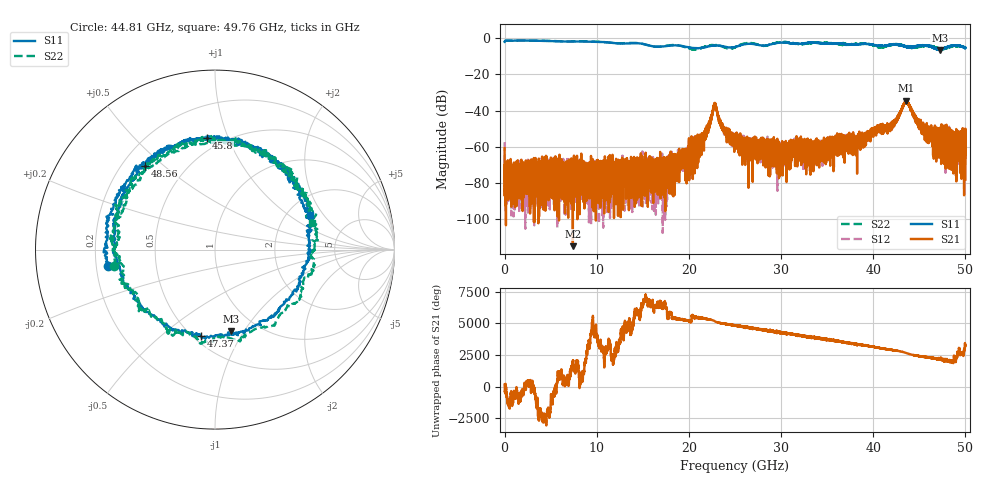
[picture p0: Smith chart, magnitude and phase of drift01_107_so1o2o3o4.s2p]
!Created with skrf (http://scikit-rf.org).
# Hz S RI R 50.0
!freq ReS11 ImS11 ReS21 ImS21 ReS12 ImS12 ReS22 ImS22
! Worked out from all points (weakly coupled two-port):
!   10001 points, 300 kHz to 50 GHz, reference 50 ohm
!   highest |S21| = -34.56 dB at 43.59 GHz (marker M1); lowest = -114.8 dB at 7.405 GHz (marker M2)
!   lowest |S11| = -6.7 dB at 47.21 GHz (marker M3), VSWR 2.74, Z = 37.9 - j44 ohm
!   |S11| at or under -10 dB: nowhere
!   |S22| runs from -6.4 to -1.4 dB; largest |S21 - S12| = 0.0035
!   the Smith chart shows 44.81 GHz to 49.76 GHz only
!   S11 on the Smith chart (normalised r, x): 44.81 GHz: 0.25, -0.07; 45.8 GHz: 0.41, +0.84; 47.37 GHz: 0.55, -0.69; 48.56 GHz: 0.29, +0.43; 49.76 GHz: 2.65, +1.48
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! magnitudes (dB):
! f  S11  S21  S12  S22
! 300 kHz  -2.1  -60.7  -57.5  -2.1
! 255.3 MHz  -1.4  -76.6  -78.0  -1.4
! 7.405 GHz  -1.9  -114.8  -71.2  -1.9
! 8.335 GHz  -1.9  -72.4  -70.8  -1.8
! 16.67 GHz  -4.8  -75.9  -72.2  -4.8
! 17.6 GHz  -4.4  -69.3  -73.8  -4.2
! 20.81 GHz  -5.6  -55.9  -60.3  -6.2
! 21.88 GHz  -5.0  -53.2  -51.3  -4.5
! 22.79 GHz  -4.3  -36.1  -36.3  -4.0
! 23.79 GHz  -4.7  -49.5  -50.8  -5.0
! 25 GHz  -5.0  -55.2  -55.4  -5.0
! 29.73 GHz  -2.7  -57.1  -62.9  -2.5
! 33.34 GHz  -2.6  -63.8  -60.5  -2.7
! 41.67 GHz  -3.9  -49.2  -48.6  -4.2
! 43.59 GHz  -4.5  -34.6  -35.0  -4.9
! 44.81 GHz  -4.4  -44.6  -46.2  -4.9
! 45.8 GHz  -4.1  -50.3  -51.7  -4.1
! 47.21 GHz  -6.7  -52.8  -59.6  -5.9
! 47.37 GHz  -6.3  -57.5  -50.5  -5.9
! 48.56 GHz  -4.3  -51.0  -56.8  -4.5
! 49.76 GHz  -5.0  -69.2  -55.1  -5.0
! 50 GHz  -5.4  -78.1  -53.1  -5.3
